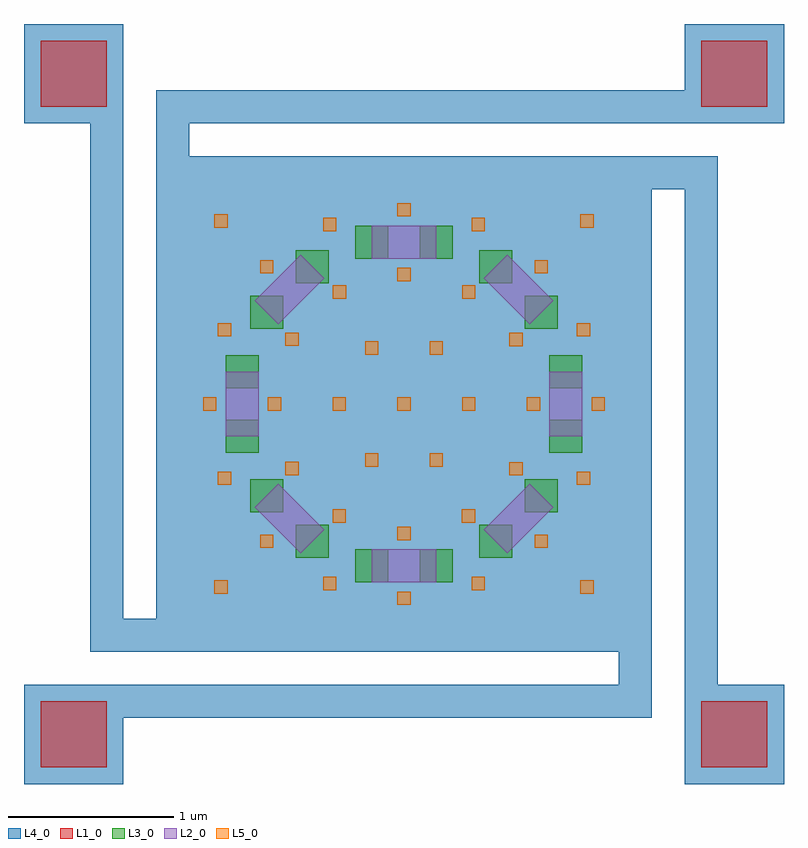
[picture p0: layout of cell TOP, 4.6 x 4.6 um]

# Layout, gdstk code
import gdstk
lib = gdstk.Library(unit=1e-6, precision=1e-09)
def R(c, l, rs):  # rectangles x0, y0, x1, y1
    for r in rs: c.add(gdstk.rectangle(r[:2], r[2:], *l))
def A(c, l, x, y, w, h, nx, ny, dx, dy):  # array of equal rectangles
    R(c, l, [(x+i*dx, y+j*dy, x+i*dx+w, y+j*dy+h) for i in range(nx) for j in range(ny)])
def P(c, l, *ps):  # polygons
    for p in ps: c.add(gdstk.Polygon(p, *l))
L1_0 = (1, 0)
L2_0 = (2, 0)
L3_0 = (3, 0)
L4_0 = (4, 0)
L5_0 = (5, 0)

top = lib.new_cell('TOP')
R(top, L1_0, [(-2.2,-2.2,-1.8,-1.8), (1.8,-2.2,2.2,-1.8), (-2.2,1.8,-1.8,2.2), (1.8,1.8,2.2,2.2)])
R(top, L2_0, [(-0.196,-1.08,0.196,-0.88), (-1.08,-0.196,-0.88,0.196), (0.88,-0.196,1.08,0.196), (-0.196,0.88,0.196,1.08)])
P(top, L2_0, [(-0.761,0.483),(-0.903,0.625),(-0.625,0.903),(-0.483,0.761)],
  [(-0.625,-0.903),(-0.903,-0.625),(-0.761,-0.483),(-0.483,-0.761)],
  [(0.625,-0.903),(0.483,-0.761),(0.761,-0.483),(0.903,-0.625)],
  [(0.761,0.483),(0.483,0.761),(0.625,0.903),(0.903,0.625)])
R(top, L3_0, [(-0.295,-1.08,-0.095,-0.88), (0.095,-1.08,0.295,-0.88), (-0.655,-0.931,-0.455,-0.731), (0.455,-0.931,0.655,-0.731), (-0.931,-0.655,-0.731,-0.455), (0.731,-0.655,0.931,-0.455), (-1.08,-0.295,-0.88,-0.095), (0.88,-0.295,1.08,-0.095), (-1.08,0.095,-0.88,0.295), (0.88,0.095,1.08,0.295), (-0.931,0.455,-0.731,0.655), (0.731,0.455,0.931,0.655), (-0.655,0.731,-0.455,0.931), (0.455,0.731,0.655,0.931), (-0.295,0.88,-0.095,1.08), (0.095,0.88,0.295,1.08)])
P(top, L4_0, [(-2.3,-2.3),(-2.3,-1.7),(1.3,-1.7),(1.3,-1.5),(-1.9,-1.5),(-1.9,1.7),(-2.3,1.7),(-2.3,2.3),(-1.7,2.3),(-1.7,-1.3),(-1.5,-1.3),(-1.5,1.9),(1.7,1.9),(1.7,2.3),(2.3,2.3),(2.3,1.7),(-1.3,1.7),(-1.3,1.5),(1.9,1.5),(1.9,-1.7),(2.3,-1.7),(2.3,-2.3),(1.7,-2.3),(1.7,1.3),(1.5,1.3),(1.5,-1.9),(-1.7,-1.9),(-1.7,-2.3)])
A(top, L5_0, -1.216, -0.04, 0.08, 0.08, 7, 1, 0.392, 0)
R(top, L5_0, [(-0.04,-1.216,0.04,-1.136), (-1.148,-1.148,-1.068,-1.068), (1.068,-1.148,1.148,-1.068), (-0.49,-1.126,-0.41,-1.046), (0.41,-1.126,0.49,-1.046), (-0.871,-0.871,-0.791,-0.791), (0.791,-0.871,0.871,-0.791), (-0.04,-0.824,0.04,-0.744), (-0.432,-0.718,-0.352,-0.638), (0.351,-0.718,0.431,-0.638), (-1.126,-0.49,-1.046,-0.41), (1.046,-0.49,1.126,-0.41), (0.638,-0.432,0.718,-0.352), (-0.718,-0.431,-0.638,-0.351), (-0.236,-0.379,-0.156,-0.299), (0.155,-0.379,0.235,-0.299), (-0.235,0.299,-0.155,0.379), (0.156,0.299,0.236,0.379), (0.638,0.351,0.718,0.431), (-0.718,0.352,-0.638,0.432), (-1.126,0.41,-1.046,0.49), (1.046,0.41,1.126,0.49), (-0.431,0.638,-0.351,0.718), (0.352,0.638,0.432,0.718), (-0.04,0.744,0.04,0.824), (-0.871,0.791,-0.791,0.871), (0.791,0.791,0.871,0.871), (-0.49,1.046,-0.41,1.126), (0.41,1.046,0.49,1.126), (-1.148,1.068,-1.068,1.148), (1.068,1.068,1.148,1.148), (-0.04,1.136,0.04,1.216)])

lib.write_gds('TOP.gds')
